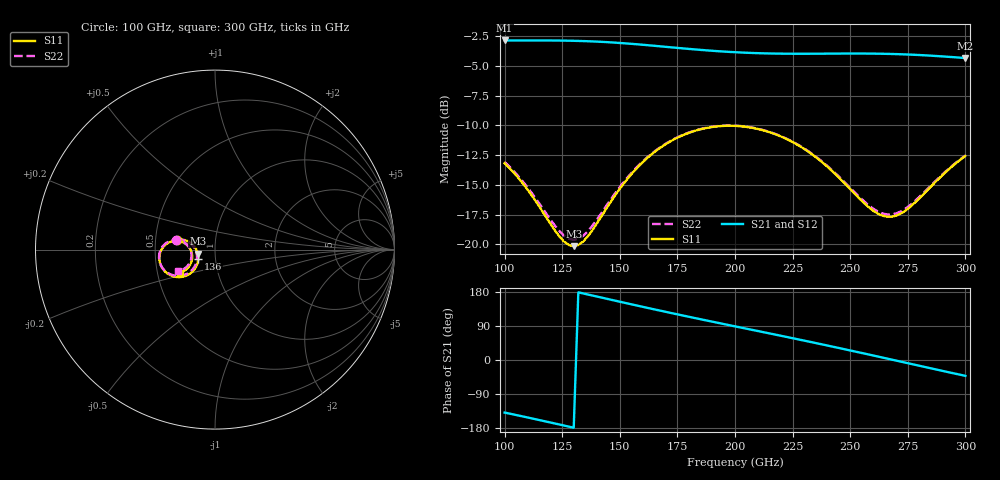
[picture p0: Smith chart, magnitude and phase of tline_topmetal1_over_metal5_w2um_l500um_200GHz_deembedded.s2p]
! Created with skrf 2.0.1 (http://scikit-rf.org).
# GHz S DB R 50.0
!freq dBS11 angS11 dBS21 angS21 dBS12 angS12 dBS22 angS22
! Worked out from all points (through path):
!   101 points, 100 GHz to 300 GHz, reference 50 ohm
!   highest |S21| = -2.85 dB at 100 GHz (marker M1); lowest = -4.3 dB at 300 GHz (marker M2)
!   group delay of S21, straight-line fit = 3.63 ps
!   lowest |S11| = -20.1 dB at 130 GHz (marker M3), VSWR 1.22, Z = 41.2 - j1.89 ohm
!   |S11| at or under -10 dB: start of sweep to end of sweep
!   |S22| runs from -19.6 to -10.0 dB; largest |S21 - S12| = 8.3e-14
!   S11 on the Smith chart (normalised r, x): 100 GHz: 0.65, +0.07; 136 GHz: 0.82, -0.09; 300 GHz: 0.65, -0.18
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100  -13.17 165.6  -2.85 -138.7  -2.85 -138.7  -13.07 166.2
108  -14.90 162.7  -2.86 -149.1  -2.86 -149.1  -14.73 163.4
116  -17.10 164.8  -2.85 -159.7  -2.85 -159.7  -16.82 165.6
124  -19.38 176.7  -2.86 -170.5  -2.86 -170.5  -18.92 176.9
130  -20.15 -166.7  -2.88 -178.7  -2.88 -178.7  -19.61 -167.8
134  -19.77 -155.0  -2.90 175.8  -2.90 175.8  -19.29 -157.1
136  -19.35 -150.0  -2.92 173.1  -2.92 173.1  -18.92 -152.4
150  -15.32 -135.8  -3.06 153.8  -3.06 153.8  -15.18 -138.4
158  -13.46 -137.5  -3.18 143.0  -3.18 143.0  -13.38 -139.8
168  -11.81 -143.3  -3.35 129.6  -3.35 129.6  -11.77 -145.4
176  -10.93 -149.3  -3.50 119.2  -3.50 119.2  -10.90 -151.3
184  -10.37 -155.8  -3.63 108.9  -3.63 108.9  -10.35 -157.6
200  -10.03 -169.0  -3.84 88.8  -3.84 88.8  -10.02 -170.6
216  -10.63 178.8  -3.95 68.9  -3.95 68.9  -10.61 177.2
234  -12.50 168.5  -3.97 46.1  -3.97 46.1  -12.46 167.1
244  -14.17 166.7  -3.96 33.1  -3.96 33.1  -14.09 165.4
252  -15.74 169.6  -3.95 22.5  -3.95 22.5  -15.62 168.3
262  -17.41 -178.3  -3.97 9.1  -3.97 9.1  -17.23 180.0
268  -17.67 -167.4  -3.99 1.0  -3.99 1.0  -17.48 -169.6
274  -17.16 -157.1  -4.03 -7.1  -4.03 -7.1  -16.99 -159.6
284  -15.34 -147.2  -4.12 -20.6  -4.12 -20.6  -15.24 -149.9
300  -12.56 -147.1  -4.33 -41.9  -4.33 -41.9  -12.53 -149.8
